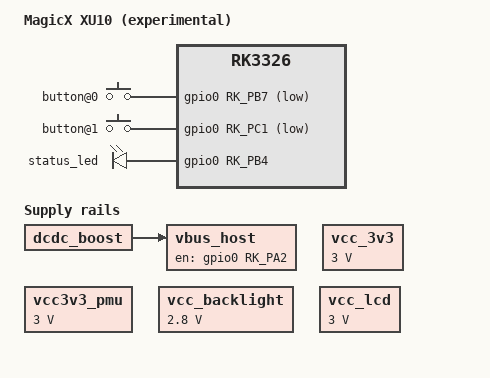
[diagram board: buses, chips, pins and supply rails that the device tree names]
// SPDX-License-Identifier: (GPL-2.0+ OR MIT)
/*
 * EXPERIMENTAL - not tested on hardware by andr36oid.
 *
 * MagicX XU10 (clone issue tracker #14). Close to the genuine R36S in the
 * power chip, card slots, headphone detect and backlight, but:
 *  - the main 3.3 V rails are 3.0 V, the screen logic rail 3.0 V and the
 *    backlight rail 2.8 V;
 *  - the screen (the Panel 0 start sequence) has an enable line, GPIO0_B5;
 *  - every button except the d-pad is on another pin, the volume keys are
 *    where the R36S has its rumble motor and its blue LED;
 *  - each stick has its own ADC input and a two-way switch between its axes.
 *
 * Values from the dArkOS port (arkos4clone, consoles/xu10, SHA256
 * b045d06d8e27442ee8172c4758de8665aab41eea963afdddaaba7e459b653c2c), stick
 * wiring cross checked with the xu10-joypad driver of AmberELEC and the
 * ROCKNIX device tree.
 */

/dts-v1/;
#include "rk3326-r36s-android.dtsi"

/ {
	model = "MagicX XU10 (experimental)";

	/* USB host power switch, always on in the stock tree */
	vbus_host: vbus-host {
		compatible = "regulator-fixed";
		regulator-name = "vbus_host";
		gpio = <&gpio0 RK_PA2 GPIO_ACTIVE_HIGH>;
		enable-active-high;
		regulator-always-on;
		vin-supply = <&dcdc_boost>;
	};
};

&gpio_keys {
	button@0 {
		gpios = <&gpio0 RK_PB7 GPIO_ACTIVE_LOW>;	/* volume up */
	};
	button@1 {
		gpios = <&gpio0 RK_PC1 GPIO_ACTIVE_LOW>;	/* volume down */
	};
};

/* GPIO0_B7 is the volume up key here, not a rumble motor */
&pwm0 {
	status = "disabled";
};

&joypad {
	/* pwms stays for the older joypad driver of the resizer and recovery */
	andr36oid,no-rumble;
	/delete-property/ pinctrl-1;	/* the PWM0 pin, GPIO0_B7 */

	/*
	 * Left stick on ADC input 1, right stick on input 2. The first name
	 * stays "amux_adc" so a kernel without andr36oid,split-adc still finds
	 * its channel and the buttons work there.
	 */
	andr36oid,split-adc;
	io-channel-names = "amux_adc", "joy_right";
	io-channels = <&saradc 1>, <&saradc 2>;
	amux-a-gpios = <&gpio2 RK_PB3 GPIO_ACTIVE_LOW>;
	amux-b-gpios = <&gpio2 RK_PB5 GPIO_ACTIVE_LOW>;
	amux-en-gpios = <&gpio1 RK_PB0 GPIO_ACTIVE_LOW>;	/* from ROCKNIX */
	invert-absx;
	invert-absy;

	/* d-pad (sw1 to sw4) is on the R36S pins */
	sw5 { gpios = <&gpio2 RK_PA1 GPIO_ACTIVE_LOW>; };	/* A */
	sw6 { gpios = <&gpio2 RK_PA3 GPIO_ACTIVE_LOW>; };	/* B */
	sw7 { gpios = <&gpio2 RK_PA2 GPIO_ACTIVE_LOW>; };	/* Y */
	sw8 { gpios = <&gpio2 RK_PA0 GPIO_ACTIVE_LOW>; };	/* X */
	sw11 { gpios = <&gpio2 RK_PB1 GPIO_ACTIVE_LOW>; };	/* L3 */
	sw12 { gpios = <&gpio2 RK_PB2 GPIO_ACTIVE_LOW>; };	/* R3 */
	sw13 { gpios = <&gpio2 RK_PA4 GPIO_ACTIVE_LOW>; };	/* FN */
	sw15 { gpios = <&gpio2 RK_PA6 GPIO_ACTIVE_LOW>; };	/* L1 */
	sw16 { gpios = <&gpio2 RK_PA7 GPIO_ACTIVE_LOW>; };	/* R1 */
	sw19 { gpios = <&gpio2 RK_PB0 GPIO_ACTIVE_LOW>; };	/* select */
	sw20 { gpios = <&gpio3 RK_PB2 GPIO_ACTIVE_LOW>; };	/* R2 */
	sw21 { gpios = <&gpio3 RK_PB4 GPIO_ACTIVE_LOW>; };	/* L2 */
	sw22 { gpios = <&gpio2 RK_PA5 GPIO_ACTIVE_LOW>; };	/* start */
};

/*
 * GPIO0_C1 (the R36S heartbeat LED) is the volume down key here and nothing
 * is known about GPIO1_B2 (the R36S vibration LED).
 */
&leds {
	status = "disabled";
};

/* One LED on GPIO0_B4: blue with the pin low, white with it high */
&status_led {
	gpios = <&gpio0 RK_PB4 GPIO_ACTIVE_HIGH>;
	color-names = "blue", "white";
	color-states = <0>, <1>;
	andr36oid,battery = "11 blue 0 white";
	andr36oid,sleep = "blue";
	andr36oid,charging = "white";
	andr36oid,full = "blue";
	status = "okay";
};

&rk817 {
	charger {
		/* GPIO2_B5 switches the right stick here */
		/delete-property/ bat_low_gpio;
	};

	battery {
		/* stock values: 2800 mAh cell */
		ocv_table = <3300 3340 3380 3420 3460 3500 3540
			3570 3610 3650 3690 3720 3750 3790
			3830 3870 3910 3940 3967 4001 4046>;
		design_capacity = <2800>;
		design_qmax = <3000>;
		bat_res = <100>;
		power_off_thresd = <3300>;
		zero_algorithm_vol = <3850>;
		max_soc_offset = <60>;
	};
};

/* 3.0 V where the R36S has 3.3 V */
&vcc_3v3 {
	regulator-name = "vcc_3v0";
	regulator-min-microvolt = <3000000>;
	regulator-max-microvolt = <3000000>;

	regulator-state-mem {
		regulator-suspend-microvolt = <3000000>;
	};
};

&vcc3v3_pmu {
	regulator-name = "vcc3v0_pmu";
	regulator-min-microvolt = <3000000>;
	regulator-max-microvolt = <3000000>;

	regulator-state-mem {
		regulator-suspend-microvolt = <3000000>;
	};
};

/*
 * LDO7 feeds the backlight circuit at 2.8 V. The stock tree switches it with
 * the screen; our panel driver has no backlight supply, so it stays on.
 */
&vcc_backlight {
	regulator-always-on;
	regulator-boot-on;
	regulator-min-microvolt = <2800000>;
	regulator-max-microvolt = <2800000>;

	regulator-state-mem {
		regulator-suspend-microvolt = <2800000>;
	};
};

/* LDO8 feeds the screen at 3.0 V and is always on in the stock tree */
&vcc_lcd {
	regulator-always-on;
	regulator-boot-on;
	regulator-min-microvolt = <3000000>;
	regulator-max-microvolt = <3000000>;

	regulator-state-mem {
		regulator-suspend-microvolt = <3000000>;
	};
};

&dsi {
	panel@0 {
		enable-gpios = <&gpio0 RK_PB5 GPIO_ACTIVE_HIGH>;

		/* the Panel 0 sequence, byte for byte the stock one */
		panel-init-sequence = [
			39 00 04 b9 f1 12 83
			39 00 06 b1 00 00 00 da 80
			39 00 04 b2 00 13 70
			39 00 0b b3 10 10 28 28 03 ff 00 00 00 00
			15 00 02 b4 80
			15 00 03 b5 0a 0a
			15 00 03 b6 7f 7f
			39 00 05 b8 26 62 f0 63
			39 00 1c ba 33 81 05 f9 0e 0e 20 00 00 00 00 00 00 00 44 25 00 90 0a 00 00 01 4f 01 00 00 37
			15 00 02 bc 47
			39 00 04 bf 02 11 00
			39 00 0a c0 73 73 50 50 00 00 12 50 00
			39 00 0d c1 53 c0 32 32 77 e1 dd dd 77 77 33 33
			39 00 07 c6 82 00 bf ff 00 ff
			39 00 07 c7 b8 00 0a 00 00 00
			39 00 05 c8 10 40 1e 02
			15 00 02 cc 0b
			39 00 23 e0 00 07 0d 37 35 3f 41 44 06 0c 0d 0f 11 10 12 14 1a 00 07 0d 37 35 3f 41 44 06 0c 0d 0f 11 10 12 14 1a
			39 00 0f e3 07 07 0b 0b 0b 0b 00 00 00 00 ff 00 c0 10
			39 00 40 e9 c8 10 02 00 00 b0 b1 11 31 23 28 80 b0 b1 27 08 00 04 02 00 00 00 00 04 02 00 00 00 88 88 ba 60 24 08 88 88 88 88 88 88 88 ba 71 35 18 88 88 88 88 88 00 00 00 01 00 00 00 00 00 00 00 00 00
			39 00 3e ea 97 0a 82 02 03 07 00 00 00 00 00 00 81 88 ba 17 53 88 88 88 88 88 88 80 88 ba 06 42 88 88 88 88 88 88 23 00 00 02 80 00 00 00 00 00 00 00 00 00 00 00 00 00 00 00 00 00 00 00 00 00 00
			39 00 04 ef ff ff 01
			05 c8 01 11
			05 32 01 29
		];

		display-timings {
			/* one mode only: the R36S alternates do not fit this panel */
			/delete-node/ timing1;
			/delete-node/ timing2;
		};
	};
};

/* 26.4 MHz, 880 x 500 total: 60.0 Hz */
&timing0 {
	clock-frequency = <26400000>;
	hactive = <640>;
	vactive = <480>;
	hfront-porch = <119>;
	hsync-len = <2>;
	hback-porch = <119>;
	vfront-porch = <13>;
	vsync-len = <2>;
	vback-porch = <5>;
	hsync-active = <0>;
	vsync-active = <0>;
	de-active = <0>;
	pixelclk-active = <0>;
};

/* Off in the stock tree; nothing is known about its pins on this board */
&uart1 {
	status = "disabled";
};

&btn_pins {
	rockchip,pins =
		<0 RK_PB7 RK_FUNC_GPIO &pcfg_pull_up>,
		<0 RK_PC1 RK_FUNC_GPIO &pcfg_pull_up>,
		<1 RK_PB4 RK_FUNC_GPIO &pcfg_pull_up>,
		<1 RK_PB5 RK_FUNC_GPIO &pcfg_pull_up>,
		<1 RK_PB6 RK_FUNC_GPIO &pcfg_pull_up>,
		<1 RK_PB7 RK_FUNC_GPIO &pcfg_pull_up>,
		<2 RK_PA0 RK_FUNC_GPIO &pcfg_pull_up>,
		<2 RK_PA1 RK_FUNC_GPIO &pcfg_pull_up>,
		<2 RK_PA2 RK_FUNC_GPIO &pcfg_pull_up>,
		<2 RK_PA3 RK_FUNC_GPIO &pcfg_pull_up>,
		<2 RK_PA4 RK_FUNC_GPIO &pcfg_pull_up>,
		<2 RK_PA5 RK_FUNC_GPIO &pcfg_pull_up>,
		<2 RK_PA6 RK_FUNC_GPIO &pcfg_pull_up>,
		<2 RK_PA7 RK_FUNC_GPIO &pcfg_pull_up>,
		<2 RK_PB0 RK_FUNC_GPIO &pcfg_pull_up>,
		<2 RK_PB1 RK_FUNC_GPIO &pcfg_pull_up>,
		<2 RK_PB2 RK_FUNC_GPIO &pcfg_pull_up>,
		<3 RK_PB2 RK_FUNC_GPIO &pcfg_pull_up>,
		<3 RK_PB4 RK_FUNC_GPIO &pcfg_pull_up>;
};
